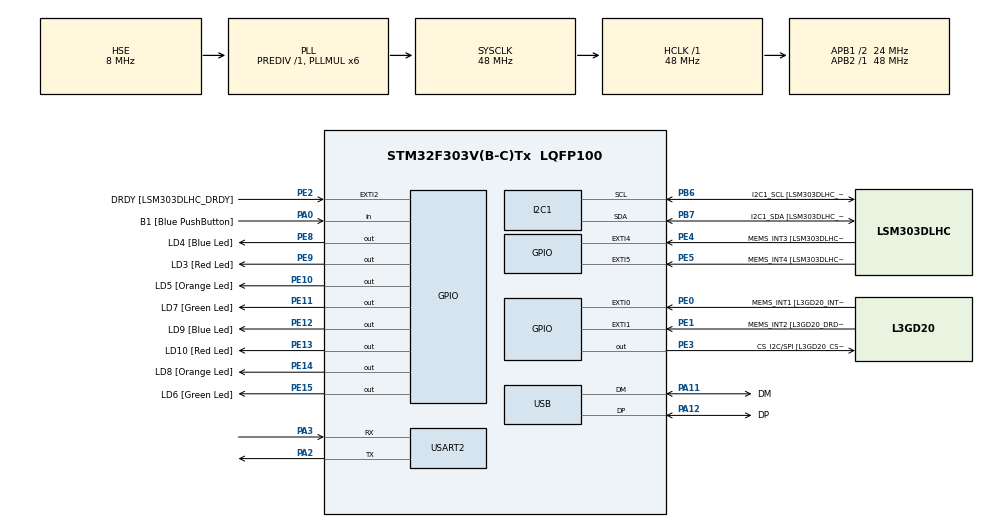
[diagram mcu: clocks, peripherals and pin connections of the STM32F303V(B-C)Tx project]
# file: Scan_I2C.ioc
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I2C1.Timing=0x2000090E
I2C1.Timing-I2C=0x2000090E
Mcu.Family=STM32F3
Mcu.Name=STM32F303V(B-C)Tx
Mcu.Package=LQFP100
NVIC.PriorityGroup=NVIC_PRIORITYGROUP_0
PA0.GPIO_Label=B1 [Blue PushButton]
PA0.Signal=GPIO_Input
PA11.GPIO_Label=DM
PA11.Mode=Device
PA11.Signal=USB_DM
PA12.GPIO_Label=DP
PA12.Mode=Device
PA12.Signal=USB_DP
PA13.GPIO_Label=SWDIO
PA13.Mode=Serial_Wire
PA13.Signal=SYS_JTMS-SWDIO
PA14.GPIO_Label=SWCLK
PA14.Mode=Serial_Wire
PA14.Signal=SYS_JTCK-SWCLK
PA2.Mode=Asynchronous
PA2.Signal=USART2_TX
PA3.Mode=Asynchronous
PA3.Signal=USART2_RX
PA5.GPIO_Label=SPI1_SCK [L3GD20_SCL/SPC]
PA5.Signal=SPI1_SCK
PA6.GPIO_Label=SPI1_MISO [L3GD20_SA0/SDO]
PA6.Signal=SPI1_MISO
PA7.GPIO_Label=SPI1_MISO [L3GD20_SDA/SDI/SDO]
PA7.Signal=SPI1_MOSI
PB3.GPIO_Label=SWO
PB3.Signal=SYS_JTDO-TRACESWO
PB6.GPIO_Label=I2C1_SCL [LSM303DLHC_SCL]
PB6.GPIO_Pu=GPIO_PULLUP
PB6.Mode=I2C
PB6.Signal=I2C1_SCL
PB7.GPIO_Label=I2C1_SDA [LSM303DLHC_SDA]
PB7.GPIO_Pu=GPIO_PULLUP
PB7.Mode=I2C
PB7.Signal=I2C1_SDA
PC14-OSC32_IN.GPIO_Label=OSC32_IN
PC14-OSC32_IN.Signal=RCC_OSC32_IN
PC15-OSC32_OUT.GPIO_Label=OSC32_OUT
PC15-OSC32_OUT.Signal=RCC_OSC32_OUT
PE0.GPIO_Label=MEMS_INT1 [L3GD20_INT1]
PE0.GPIO_ModeDefaultEXTI=GPIO_MODE_EVT_RISING
PE0.Signal=GPXTI0
PE1.GPIO_Label=MEMS_INT2 [L3GD20_DRDY/INT2]
PE1.GPIO_ModeDefaultEXTI=GPIO_MODE_EVT_RISING
PE1.Signal=GPXTI1
PE10.GPIO_Label=LD5 [Orange Led]
PE10.Signal=GPIO_Output
PE11.GPIO_Label=LD7 [Green Led]
PE11.Signal=GPIO_Output
PE12.GPIO_Label=LD9 [Blue Led]
PE12.Signal=GPIO_Output
PE13.GPIO_Label=LD10 [Red Led]
PE13.Signal=GPIO_Output
PE14.GPIO_Label=LD8 [Orange Led]
PE14.Signal=GPIO_Output
PE15.GPIO_Label=LD6 [Green Led]
PE15.Signal=GPIO_Output
PE2.GPIO_Label=DRDY [LSM303DLHC_DRDY]
PE2.GPIO_ModeDefaultEXTI=GPIO_MODE_EVT_RISING
PE2.Signal=GPXTI2
PE3.GPIO_Label=CS_I2C/SPI [L3GD20_CS_I2C/SPI]
PE3.Signal=GPIO_Output
PE4.GPIO_Label=MEMS_INT3 [LSM303DLHC_INT1]
PE4.GPIO_ModeDefaultEXTI=GPIO_MODE_EVT_RISING
PE4.Signal=GPXTI4
PE5.GPIO_Label=MEMS_INT4 [LSM303DLHC_INT2]
PE5.GPIO_ModeDefaultEXTI=GPIO_MODE_EVT_RISING
PE5.Signal=GPXTI5
PE8.GPIO_Label=LD4 [Blue Led]
PE8.Signal=GPIO_Output
PE9.GPIO_Label=LD3 [Red Led]
PE9.Signal=GPIO_Output
PF0-OSC_IN.GPIO_Label=OSC_IN
PF0-OSC_IN.Mode=HSE-External-Clock-Source
PF0-OSC_IN.Signal=RCC_OSC_IN
PF1-OSC_OUT.GPIO_Label=OSC_OUT
PF1-OSC_OUT.Signal=RCC_OSC_OUT
ProjectManager.HeapSize=0x200
ProjectManager.StackSize=0x400
ProjectManager.TargetToolchain=CMake
RCC.AHBFreq_Value=48000000
RCC.APB1CLKDivider=RCC_HCLK_DIV2
RCC.APB1Freq_Value=24000000
RCC.APB1TimFreq_Value=48000000
RCC.APB2Freq_Value=48000000
RCC.APB2TimFreq_Value=48000000
RCC.CortexFreq_Value=48000000
RCC.HCLKFreq_Value=48000000
RCC.HSE_VALUE=8000000
RCC.HSI_VALUE=8000000
RCC.LSE_VALUE=32768
RCC.PLLMUL=RCC_PLL_MUL6
RCC.SYSCLKFreq_VALUE=48000000
RCC.SYSCLKSourceVirtual=RCC_SYSCLKSOURCE_PLLCLK
RCC.USBFreq_Value=48000000
USART2.VirtualMode-Asynchronous=VM_ASYNC
board=STM32F3DISCOVERY

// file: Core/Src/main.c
/* USER CODE BEGIN Header */
/**
  ******************************************************************************
  * @file           : main.c
  * @brief          : Main program body
  ******************************************************************************
  * @attention
  *
  * Copyright (c) 2025 STMicroelectronics.
  * All rights reserved.
  *
  * This software is licensed under terms that can be found in the LICENSE file
  * in the root directory of this software component.
  * If no LICENSE file comes with this software, it is provided AS-IS.
  *
  ******************************************************************************
  */
/* USER CODE END Header */
#include "main.h"
#include <stdio.h>
#include <stdint.h>

I2C_HandleTypeDef hi2c1;
UART_HandleTypeDef huart2;
PCD_HandleTypeDef hpcd_USB_FS;

void SystemClock_Config(void);
static void MX_GPIO_Init(void);
static void MX_I2C1_Init(void);
static void MX_USART2_UART_Init(void);
static void MX_USB_PCD_Init(void);

/* USER CODE BEGIN 0 */
  #define BUF_SIZE 25
  #define MY_UART &huart2
  #define MY_I2C &hi2c1
  uint8_t i = 0, ret;
  uint8_t Buffer[BUF_SIZE] = {0};
  unsigned char Space[]    = "  -  ";
  const char StartMSG[] = "Début du scan du bus I2C:\r\n";
  const char EndMSG[]   = "\r\nFin de scan\r\n\r\n";

  #define HAL_DELAY_TO_OUPUT 10000

  int __io_putchar(int ch)
    {
    HAL_UART_Transmit(MY_UART, (const uint8_t *)&ch, 1, HAL_DELAY_TO_OUPUT);
    return(1);
    }

/* USER CODE END 0 */

int main(void)
{

  /* MCU Configuration--------------------------------------------------------*/

  /* Reset of all peripherals, Initializes the Flash interface and the Systick. */
  HAL_Init();

  /* Configure the system clock */
  SystemClock_Config();

  /* Initialize all configured peripherals */
  MX_GPIO_Init();
  MX_I2C1_Init();
  MX_USART2_UART_Init();
  MX_USB_PCD_Init();

  /* USER CODE BEGIN 2 */
/*-[ I2C Bus Scanning ]-*/
  //HAL_UART_Transmit(&huart2, StartMSG, sizeof(StartMSG), 10000);
  printf(StartMSG);

  for(i=0; i <= 0x7F; i++)
  {
      ret = HAL_I2C_IsDeviceReady(MY_I2C, (uint16_t)(i<<1), 3, 5);
      if((i%8 == 0) && (i != 0))
      {
        printf("\r\n");
      }
    	if (ret != HAL_OK) /* No ACK Received At That Address */
    	{
    		HAL_UART_Transmit(MY_UART, Space, sizeof(Space), 10000);
        }
    	else if(ret == HAL_OK)
    	{
    		//snprintf(Buffer, BUF_SIZE - 1, "0x%.2X", i);
        snprintf((char *)Buffer, BUF_SIZE - 1, "0x%.2X ", i);
    		HAL_UART_Transmit(MY_UART, Buffer, sizeof(Buffer), 10000);
    	}
    }
    // HAL_UART_Transmit(&huart2, EndMSG, sizeof(EndMSG), 10000);
    printf(EndMSG);
    /*--[ Scanning Done ]--*/

  /* USER CODE END 2 */

  /* Infinite loop */
  while (1)
  {

  }
}

void SystemClock_Config(void)
{
  RCC_OscInitTypeDef RCC_OscInitStruct = {0};
  RCC_ClkInitTypeDef RCC_ClkInitStruct = {0};
  RCC_PeriphCLKInitTypeDef PeriphClkInit = {0};

  /** Initializes the RCC Oscillators according to the specified parameters
  * in the RCC_OscInitTypeDef structure.
  */
  RCC_OscInitStruct.OscillatorType = RCC_OSCILLATORTYPE_HSI|RCC_OSCILLATORTYPE_HSE;
  RCC_OscInitStruct.HSEState = RCC_HSE_BYPASS;
  RCC_OscInitStruct.HSEPredivValue = RCC_HSE_PREDIV_DIV1;
  RCC_OscInitStruct.HSIState = RCC_HSI_ON;
  RCC_OscInitStruct.HSICalibrationValue = RCC_HSICALIBRATION_DEFAULT;
  RCC_OscInitStruct.PLL.PLLState = RCC_PLL_ON;
  RCC_OscInitStruct.PLL.PLLSource = RCC_PLLSOURCE_HSE;
  RCC_OscInitStruct.PLL.PLLMUL = RCC_PLL_MUL6;
  if (HAL_RCC_OscConfig(&RCC_OscInitStruct) != HAL_OK)
  {
    Error_Handler();
  }

  /** Initializes the CPU, AHB and APB buses clocks
  */
  RCC_ClkInitStruct.ClockType = RCC_CLOCKTYPE_HCLK|RCC_CLOCKTYPE_SYSCLK
                              |RCC_CLOCKTYPE_PCLK1|RCC_CLOCKTYPE_PCLK2;
  RCC_ClkInitStruct.SYSCLKSource = RCC_SYSCLKSOURCE_PLLCLK;
  RCC_ClkInitStruct.AHBCLKDivider = RCC_SYSCLK_DIV1;
  RCC_ClkInitStruct.APB1CLKDivider = RCC_HCLK_DIV2;
  RCC_ClkInitStruct.APB2CLKDivider = RCC_HCLK_DIV1;

  if (HAL_RCC_ClockConfig(&RCC_ClkInitStruct, FLASH_LATENCY_1) != HAL_OK)
  {
    Error_Handler();
  }
  PeriphClkInit.PeriphClockSelection = RCC_PERIPHCLK_USB|RCC_PERIPHCLK_USART2
                              |RCC_PERIPHCLK_I2C1;
  PeriphClkInit.Usart2ClockSelection = RCC_USART2CLKSOURCE_PCLK1;
  PeriphClkInit.I2c1ClockSelection = RCC_I2C1CLKSOURCE_HSI;
  PeriphClkInit.USBClockSelection = RCC_USBCLKSOURCE_PLL;
  if (HAL_RCCEx_PeriphCLKConfig(&PeriphClkInit) != HAL_OK)
  {
    Error_Handler();
  }
}

static void MX_I2C1_Init(void)
{

  hi2c1.Instance = I2C1;
  hi2c1.Init.Timing = 0x2000090E;
  hi2c1.Init.OwnAddress1 = 0;
  hi2c1.Init.AddressingMode = I2C_ADDRESSINGMODE_7BIT;
  hi2c1.Init.DualAddressMode = I2C_DUALADDRESS_DISABLE;
  hi2c1.Init.OwnAddress2 = 0;
  hi2c1.Init.OwnAddress2Masks = I2C_OA2_NOMASK;
  hi2c1.Init.GeneralCallMode = I2C_GENERALCALL_DISABLE;
  hi2c1.Init.NoStretchMode = I2C_NOSTRETCH_DISABLE;
  if (HAL_I2C_Init(&hi2c1) != HAL_OK)
  {
    Error_Handler();
  }

  /** Configure Analogue filter
  */
  if (HAL_I2CEx_ConfigAnalogFilter(&hi2c1, I2C_ANALOGFILTER_ENABLE) != HAL_OK)
  {
    Error_Handler();
  }

  /** Configure Digital filter
  */
  if (HAL_I2CEx_ConfigDigitalFilter(&hi2c1, 0) != HAL_OK)
  {
    Error_Handler();
  }

}

static void MX_USART2_UART_Init(void)
{

  huart2.Instance = USART2;
  huart2.Init.BaudRate = 38400;
  huart2.Init.WordLength = UART_WORDLENGTH_8B;
  huart2.Init.StopBits = UART_STOPBITS_1;
  huart2.Init.Parity = UART_PARITY_NONE;
  huart2.Init.Mode = UART_MODE_TX_RX;
  huart2.Init.HwFlowCtl = UART_HWCONTROL_NONE;
  huart2.Init.OverSampling = UART_OVERSAMPLING_16;
  huart2.Init.OneBitSampling = UART_ONE_BIT_SAMPLE_DISABLE;
  huart2.AdvancedInit.AdvFeatureInit = UART_ADVFEATURE_NO_INIT;
  if (HAL_UART_Init(&huart2) != HAL_OK)
  {
    Error_Handler();
  }

}

static void MX_USB_PCD_Init(void)
{

  hpcd_USB_FS.Instance = USB;
  hpcd_USB_FS.Init.dev_endpoints = 8;
  hpcd_USB_FS.Init.speed = PCD_SPEED_FULL;
  hpcd_USB_FS.Init.phy_itface = PCD_PHY_EMBEDDED;
  hpcd_USB_FS.Init.low_power_enable = DISABLE;
  hpcd_USB_FS.Init.battery_charging_enable = DISABLE;
  if (HAL_PCD_Init(&hpcd_USB_FS) != HAL_OK)
  {
    Error_Handler();
  }

}

static void MX_GPIO_Init(void)
{
  GPIO_InitTypeDef GPIO_InitStruct = {0};

  /* GPIO Ports Clock Enable */
  __HAL_RCC_GPIOE_CLK_ENABLE();
  __HAL_RCC_GPIOC_CLK_ENABLE();
  __HAL_RCC_GPIOF_CLK_ENABLE();
  __HAL_RCC_GPIOA_CLK_ENABLE();
  __HAL_RCC_GPIOB_CLK_ENABLE();

  /*Configure GPIO pin Output Level */
  HAL_GPIO_WritePin(GPIOE, CS_I2C_SPI_Pin|LD4_Pin|LD3_Pin|LD5_Pin
                          |LD7_Pin|LD9_Pin|LD10_Pin|LD8_Pin
                          |LD6_Pin, GPIO_PIN_RESET);

  /*Configure GPIO pins : DRDY_Pin MEMS_INT3_Pin MEMS_INT4_Pin MEMS_INT1_Pin
                           MEMS_INT2_Pin */
  GPIO_InitStruct.Pin = DRDY_Pin|MEMS_INT3_Pin|MEMS_INT4_Pin|MEMS_INT1_Pin
                          |MEMS_INT2_Pin;
  GPIO_InitStruct.Mode = GPIO_MODE_EVT_RISING;
  GPIO_InitStruct.Pull = GPIO_NOPULL;
  HAL_GPIO_Init(GPIOE, &GPIO_InitStruct);

  /*Configure GPIO pins : CS_I2C_SPI_Pin LD4_Pin LD3_Pin LD5_Pin
                           LD7_Pin LD9_Pin LD10_Pin LD8_Pin
                           LD6_Pin */
  GPIO_InitStruct.Pin = CS_I2C_SPI_Pin|LD4_Pin|LD3_Pin|LD5_Pin
                          |LD7_Pin|LD9_Pin|LD10_Pin|LD8_Pin
                          |LD6_Pin;
  GPIO_InitStruct.Mode = GPIO_MODE_OUTPUT_PP;
  GPIO_InitStruct.Pull = GPIO_NOPULL;
  GPIO_InitStruct.Speed = GPIO_SPEED_FREQ_LOW;
  HAL_GPIO_Init(GPIOE, &GPIO_InitStruct);

  /*Configure GPIO pin : B1_Pin */
  GPIO_InitStruct.Pin = B1_Pin;
  GPIO_InitStruct.Mode = GPIO_MODE_INPUT;
  GPIO_InitStruct.Pull = GPIO_NOPULL;
  HAL_GPIO_Init(B1_GPIO_Port, &GPIO_InitStruct);

  /*Configure GPIO pins : SPI1_SCK_Pin SPI1_MISO_Pin SPI1_MISOA7_Pin */
  GPIO_InitStruct.Pin = SPI1_SCK_Pin|SPI1_MISO_Pin|SPI1_MISOA7_Pin;
  GPIO_InitStruct.Mode = GPIO_MODE_AF_PP;
  GPIO_InitStruct.Pull = GPIO_NOPULL;
  GPIO_InitStruct.Speed = GPIO_SPEED_FREQ_HIGH;
  GPIO_InitStruct.Alternate = GPIO_AF5_SPI1;
  HAL_GPIO_Init(GPIOA, &GPIO_InitStruct);

}

void Error_Handler(void)
{
  __disable_irq();
  while (1)
  {
  }
}
